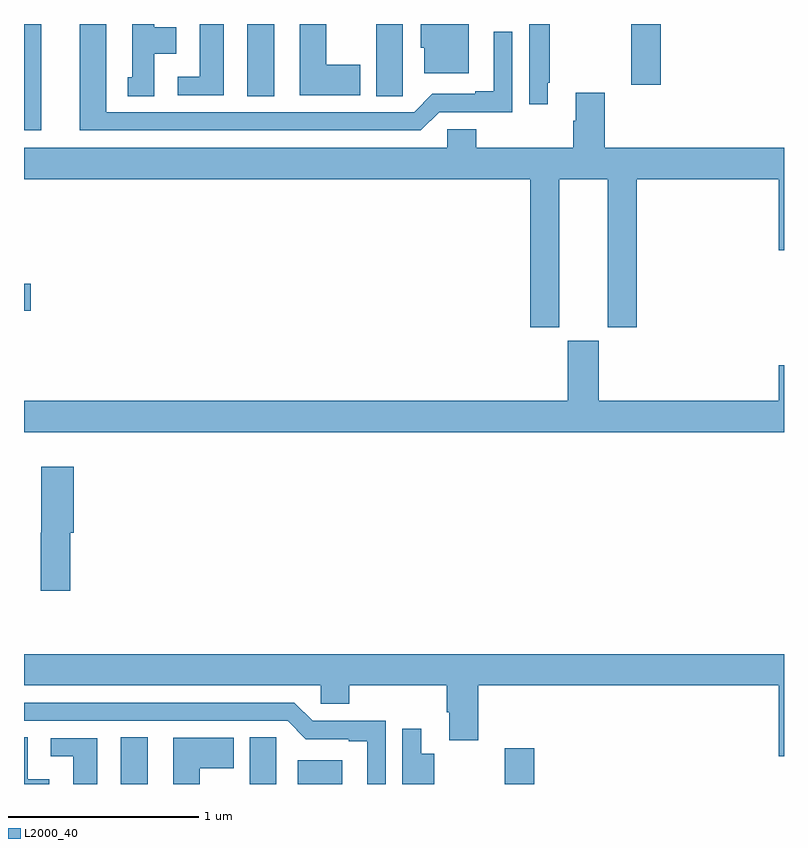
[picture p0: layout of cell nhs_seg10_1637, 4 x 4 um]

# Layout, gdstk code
import gdstk
lib = gdstk.Library(unit=1e-6, precision=1e-09)
def R(c, l, rs):  # rectangles x0, y0, x1, y1
    for r in rs: c.add(gdstk.rectangle(r[:2], r[2:], *l))
def P(c, l, *ps):  # polygons
    for p in ps: c.add(gdstk.Polygon(p, *l))
L2000_40 = (2000, 40)

nhs_seg10_1637 = lib.new_cell('nhs_seg10_1637')
R(nhs_seg10_1637, L2000_40, [(197.51,1262.5,197.65,1262.747), (198.44,1262.5,198.676,1262.626), (199.531,1262.5,199.685,1262.689), (197,1264.99,197.035,1265.132), (197,1265.94,197.092,1266.5), (198.176,1266.121,198.316,1266.5), (200.197,1266.18,200.351,1266.5)])
P(nhs_seg10_1637, L2000_40, [(198.993,1266.232),(198.994,1266.232),(198.994,1266.5),(198.854,1266.5),(198.854,1266.121),(198.993,1266.121)],
  [(199.756,1266.19),(199.768,1266.19),(199.768,1266.5),(199.659,1266.5),(199.659,1266.078),(199.756,1266.078)],
  [(199.342,1266.5),(199.088,1266.5),(199.088,1266.375),(199.106,1266.375),(199.106,1266.242),(199.342,1266.242)],
  [(197.686,1266.344),(197.8,1266.344),(197.8,1266.484),(197.686,1266.484),(197.686,1266.5),(197.57,1266.5),(197.57,1266.219),(197.546,1266.219),(197.546,1266.121),(197.686,1266.121)],
  [(198.052,1266.5),(197.924,1266.5),(197.924,1266.222),(197.808,1266.222),(197.808,1266.126),(198.052,1266.126)],
  [(198.769,1266.285),(198.592,1266.285),(198.592,1266.5),(198.452,1266.5),(198.452,1266.125),(198.769,1266.125)],
  [(199.185,1266.036),(199.569,1266.036),(199.569,1266.46),(199.472,1266.46),(199.472,1266.145),(199.376,1266.145),(199.376,1266.132),(199.149,1266.132),(199.053,1266.036),(197.434,1266.036),(197.434,1266.5),(197.294,1266.5),(197.294,1265.94),(199.089,1265.94)],
  [(199.379,1265.946),(199.227,1265.946),(199.227,1265.848),(197,1265.848),(197,1265.684),(199.664,1265.684),(199.664,1264.905),(199.816,1264.905),(199.816,1265.684),(200.072,1265.684),(200.072,1264.905),(200.225,1264.905),(200.225,1265.684),(200.972,1265.684),(200.972,1265.31),(201,1265.31),(201,1265.848),(200.057,1265.848),(200.057,1266.139),(199.904,1266.139),(199.904,1265.99),(199.892,1265.99),(199.892,1265.848),(199.379,1265.848)],
  [(199.862,1264.833),(199.862,1264.516),(197,1264.516),(197,1264.352),(201,1264.352),(201,1264.705),(200.972,1264.705),(200.972,1264.516),(200.026,1264.516),(200.026,1264.833)],
  [(197.243,1263.822),(197.261,1263.822),(197.261,1264.171),(197.09,1264.171),(197.09,1263.822),(197.089,1263.822),(197.089,1263.516),(197.243,1263.516)],
  [(201,1263.184),(197,1263.184),(197,1263.02),(198.561,1263.02),(198.561,1262.922),(198.713,1262.922),(198.713,1263.02),(199.226,1263.02),(199.226,1262.878),(199.238,1262.878),(199.238,1262.73),(199.391,1262.73),(199.391,1263.02),(200.972,1263.02),(200.972,1262.646),(201,1262.646)],
  [(198.903,1262.832),(198.519,1262.832),(198.423,1262.928),(197,1262.928),(197,1262.832),(198.387,1262.832),(198.483,1262.736),(198.71,1262.736),(198.71,1262.724),(198.806,1262.724),(198.806,1262.5),(198.903,1262.5)],
  [(199.158,1262.659),(199.09,1262.659),(199.09,1262.791),(198.992,1262.791),(198.992,1262.555),(198.991,1262.555),(198.991,1262.5),(199.158,1262.5)],
  [(198.328,1262.636),(198.327,1262.636),(198.327,1262.747),(198.188,1262.747),(198.188,1262.5),(198.328,1262.5)],
  [(197.134,1262.524),(197.02,1262.524),(197.02,1262.747),(197,1262.747),(197,1262.5),(197.134,1262.5)],
  [(197.926,1262.584),(198.103,1262.584),(198.103,1262.743),(197.786,1262.743),(197.786,1262.5),(197.926,1262.5)],
  [(197.386,1262.742),(197.142,1262.742),(197.142,1262.646),(197.258,1262.646),(197.258,1262.5),(197.386,1262.5)])

lib.write_gds('nhs_seg10_1637.gds')
